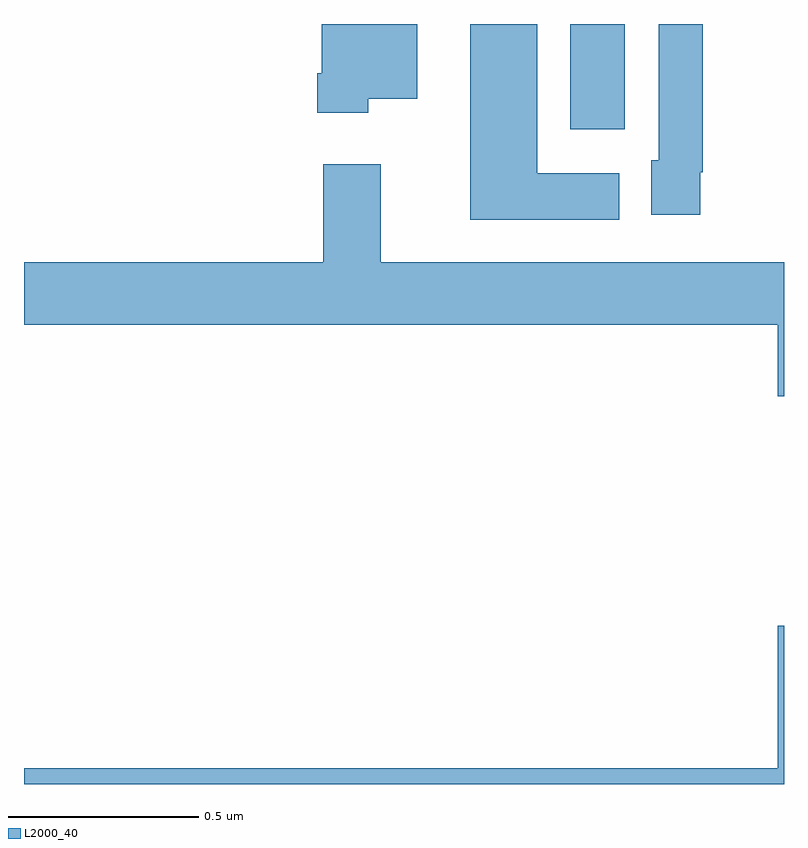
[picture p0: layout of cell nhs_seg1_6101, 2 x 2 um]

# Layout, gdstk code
import gdstk
lib = gdstk.Library(unit=1e-6, precision=1e-09)
def R(c, l, rs):  # rectangles x0, y0, x1, y1
    for r in rs: c.add(gdstk.rectangle(r[:2], r[2:], *l))
def P(c, l, *ps):  # polygons
    for p in ps: c.add(gdstk.Polygon(p, *l))
L2000_40 = (2000, 40)

nhs_seg1_6101 = lib.new_cell('nhs_seg1_6101')
R(nhs_seg1_6101, L2000_40, [(188.438,542.922,188.581,543.199)])
P(nhs_seg1_6101, L2000_40, [(187.906,543.002),(188.035,543.002),(188.035,543.199),(187.784,543.199),(187.784,543.07),(187.772,543.07),(187.772,542.966),(187.906,542.966)],
  [(188.566,542.806),(188.35,542.806),(188.35,543.199),(188.174,543.199),(188.174,542.684),(188.566,542.684)],
  [(188.779,542.809),(188.786,542.809),(188.786,543.199),(188.67,543.199),(188.67,542.841),(188.651,542.841),(188.651,542.697),(188.779,542.697)],
  [(189,542.572),(187.939,542.572),(187.939,542.83),(187.787,542.83),(187.787,542.572),(187,542.572),(187,542.408),(188.984,542.408),(188.984,542.22),(189,542.22)],
  [(189,541.615),(188.984,541.615),(188.984,541.24),(187,541.24),(187,541.199),(189,541.199)])

lib.write_gds('nhs_seg1_6101.gds')
